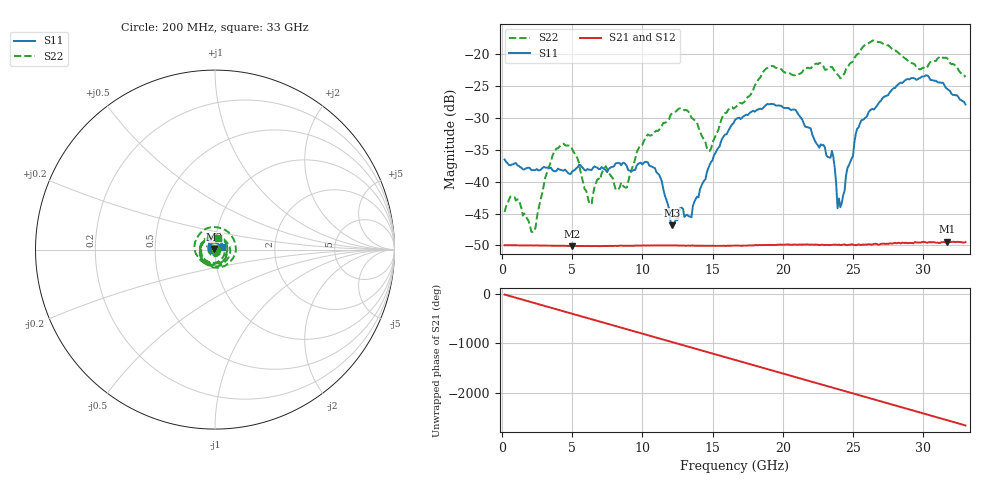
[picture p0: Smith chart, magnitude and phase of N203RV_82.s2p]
# GHZ S RI R 50
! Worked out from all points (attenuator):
!   329 points, 200 MHz to 33 GHz, reference 50 ohm
!   highest |S21| = -49.39 dB at 31.7 GHz (marker M1); lowest = -50.1 dB at 5 GHz (marker M2)
!   lowest |S11| = -46.8 dB at 12.1 GHz (marker M3), VSWR 1.01, Z = 49.7 + j0.307 ohm
!   |S11| at or under -10 dB: start of sweep to end of sweep
!   |S22| runs from -47.9 to -17.9 dB; largest |S21 - S12| = 7.2e-05
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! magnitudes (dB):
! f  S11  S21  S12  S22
! 200 MHz  -36.6  -50.0  -49.9  -44.8
! 1.2 GHz  -37.5  -50.0  -50.0  -42.8
! 2.3 GHz  -38.2  -50.0  -50.0  -47.8
! 3.7 GHz  -38.4  -50.0  -50.0  -35.5
! 5 GHz  -38.4  -50.1  -50.1  -34.9
! 5.7 GHz  -37.7  -50.1  -50.1  -39.3
! 6.3 GHz  -38.2  -50.1  -50.1  -43.6
! 7.4 GHz  -38.2  -50.1  -50.1  -37.6
! 8.9 GHz  -37.6  -50.1  -50.0  -41.0
! 11.2 GHz  -38.9  -50.0  -50.0  -31.9
! 12.1 GHz  -46.8  -50.0  -50.0  -29.4
! 13.5 GHz  -45.6  -50.0  -50.0  -30.0
! 14.8 GHz  -37.4  -50.1  -50.1  -35.2
! 16.6 GHz  -30.4  -50.0  -50.0  -28.4
! 19.4 GHz  -27.9  -49.9  -49.9  -22.0
! 22.1 GHz  -32.6  -49.9  -49.8  -22.0
! 23.5 GHz  -35.2  -49.9  -49.9  -22.0
! 24.1 GHz  -44.0  -50.0  -49.9  -23.8
! 25.3 GHz  -31.7  -49.9  -49.9  -20.1
! 27.6 GHz  -26.1  -49.7  -49.7  -18.9
! 31.7 GHz  -25.5  -49.4  -49.6  -20.7
! 33 GHz  -27.9  -49.5  -49.5  -23.7
